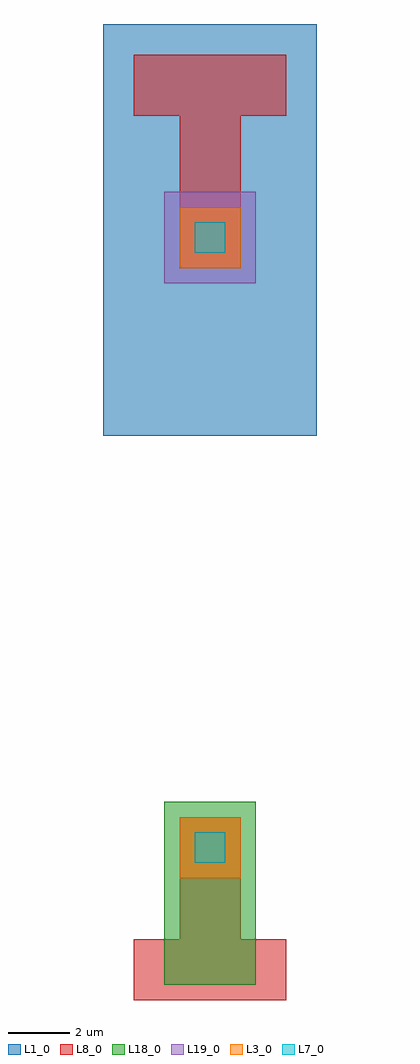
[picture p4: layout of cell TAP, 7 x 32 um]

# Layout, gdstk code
import gdstk
lib = gdstk.Library(unit=1e-6, precision=1e-09)
def R(c, l, rs):  # rectangles x0, y0, x1, y1
    for r in rs: c.add(gdstk.rectangle(r[:2], r[2:], *l))
L1_0 = (1, 0)
L3_0 = (3, 0)
L7_0 = (7, 0)
L8_0 = (8, 0)
L18_0 = (18, 0)
L19_0 = (19, 0)

tap = lib.new_cell('TAP')
R(tap, L1_0, [(-1.5,17.5,5.5,31)])
R(tap, L3_0, [(1,3,3,5), (1,23,3,25)])
R(tap, L7_0, [(1.5,3.5,2.5,4.5), (1.5,23.5,2.5,24.5)])
R(tap, L8_0, [(-0.5,-1,4.5,1), (1,-1,3,5), (1,23,3,30), (-0.5,28,4.5,30)])
R(tap, L18_0, [(0.5,-0.5,3.5,5.5)])
R(tap, L19_0, [(0.5,22.5,3.5,25.5)])

lib.write_gds('TAP.gds')
